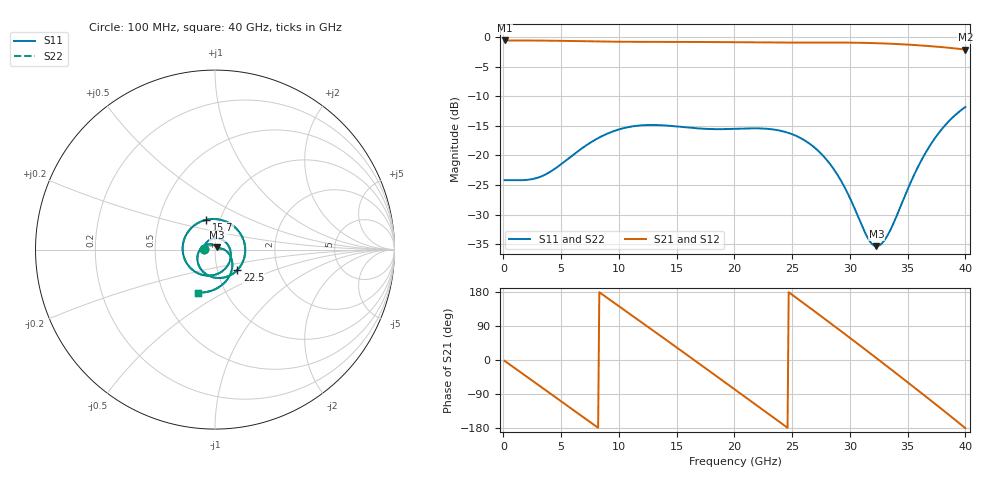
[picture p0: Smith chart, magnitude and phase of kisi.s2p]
! A_s4_d200_ap1000: L1→L4 through L2/L3, drill Ø0.2, antipad Ø1, 4 GND vias at 1 mm
! stackup: 4-layer 1.6 mm FR-4
! ports: 1, 2
! kisi-fdtd, conformal, dfine 0.035 mm, 519453 cells
# Hz S RI R 50
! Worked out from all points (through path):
!   400 points, 100 MHz to 40 GHz, reference 50 ohm
!   highest |S21| = -0.56 dB at 100 MHz (marker M1); lowest = -2.1 dB at 40 GHz (marker M2)
!   group delay of S21, straight-line fit = 62 ps
!   lowest |S11| = -35.3 dB at 32.3 GHz (marker M3), VSWR 1.03, Z = 51.1 + j1.3 ohm
!   |S11| at or under -10 dB: start of sweep to end of sweep
!   |S22| runs from -35.3 to -11.8 dB; largest |S21 - S12| = 1.4e-07
!   S11 on the Smith chart (normalised r, x): 100 MHz: 0.88, +0.01; 15.7 GHz: 0.86, +0.29; 22.5 GHz: 1.25, -0.29; 40 GHz: 0.75, -0.38
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1e8  -0.0617 0.00377  0.9367 -0.0357  0.9367 -0.0357  -0.0617 0.00377
1.7e9  -0.0305 0.0537  0.7467 -0.566  0.7467 -0.566  -0.0305 0.0537
3.6e9  0.0453 0.0517  0.1823 -0.9166  0.1823 -0.9166  0.0453 0.0517
5.1e9  0.0858 -0.00516  -0.3417 -0.8651  -0.3417 -0.8651  0.0858 -0.00516
6.8e9  0.0678 -0.0928  -0.7882 -0.4814  -0.7882 -0.4814  0.0678 -0.0928
9.6e9  -0.0882 -0.1348  -0.798 0.4475  -0.798 0.4475  -0.0882 -0.1348
1.16e10  -0.1742 -0.0384  -0.2722 0.8711  -0.2722 0.8711  -0.1742 -0.0384
1.34e10  -0.1628 0.0781  0.3396 0.8467  0.3396 0.8467  -0.1628 0.0781
1.57e10  -0.0506 0.1656  0.8681 0.278  0.8681 0.278  -0.0506 0.1656
1.77e10  0.0701 0.1521  0.8151 -0.4021  0.8151 -0.4021  0.0701 0.1521
2.01e10  0.1638 0.0367  0.1696 -0.888  0.1696 -0.888  0.1638 0.0367
2.25e10  0.1243 -0.114  -0.605 -0.6664  -0.605 -0.6664  0.1243 -0.114
2.46e10  -0.00415 -0.1558  -0.899 -0.017  -0.899 -0.017  -0.00415 -0.1558
2.67e10  -0.0944 -0.0768  -0.6244 0.6483  -0.6244 0.6483  -0.0944 -0.0768
2.93e10  -0.054 0.0248  0.2384 0.8676  0.2384 0.8676  -0.054 0.0248
3.09e10  -0.00776 0.0263  0.7096 0.5469  0.7096 0.5469  -0.00776 0.0263
3.23e10  0.0115 0.0127  0.8856 0.0764  0.8856 0.0764  0.0115 0.0127
3.34e10  0.0209 0.0079  0.8225 -0.3147  0.8225 -0.3147  0.0209 0.0079
3.5e10  0.0517 -1.84e-05  0.4478 -0.7397  0.4478 -0.7397  0.0517 -1.84e-05
3.65e10  0.0911 -0.0485  -0.068 -0.8428  -0.068 -0.8428  0.0911 -0.0485
3.84e10  0.06 -0.177  -0.6298 -0.5187  -0.6298 -0.5187  0.06 -0.177
4e10  -0.093 -0.2396  -0.7847 -0.000881  -0.7847 -0.000881  -0.093 -0.2396
